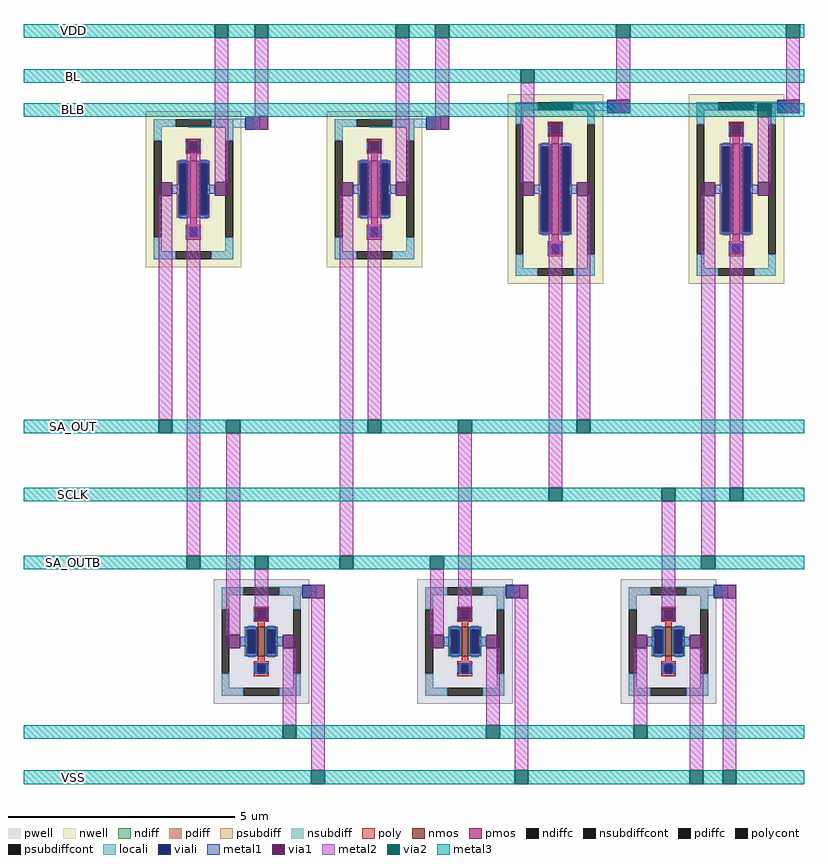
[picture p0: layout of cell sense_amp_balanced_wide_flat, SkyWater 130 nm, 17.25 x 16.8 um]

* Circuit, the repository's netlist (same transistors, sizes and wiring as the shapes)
* NGSPICE file created from sense_amp_balanced_wide_flat.ext - technology: sky130A

.subckt sense_amp_balanced_wide_flat VDD VSS BL BLB SCLK SA_OUT SA_OUTB
X0 VSS SCLK a_615_n3065# VSS sky130_fd_pr__nfet_01v8 ad=0.1885 pd=1.88 as=0.1885 ps=1.88 w=0.65 l=0.15
X1 BLB SCLK SA_OUTB VDD sky130_fd_pr__pfet_01v8 ad=0.58 pd=4.58 as=0.58 ps=4.58 w=2 l=0.15
X2 VDD SA_OUTB SA_OUT VDD sky130_fd_pr__pfet_01v8 ad=0.3654 pd=3.1 as=0.3654 ps=3.1 w=1.26 l=0.15
X3 VDD SA_OUT SA_OUTB VDD sky130_fd_pr__pfet_01v8 ad=0.3654 pd=3.1 as=0.3654 ps=3.1 w=1.26 l=0.15
X4 SA_OUT SCLK BL VDD sky130_fd_pr__pfet_01v8 ad=0.58 pd=4.58 as=0.58 ps=4.58 w=2 l=0.15
X5 a_615_n3065# SA_OUTB SA_OUT VSS sky130_fd_pr__nfet_01v8 ad=0.1885 pd=1.88 as=0.1885 ps=1.88 w=0.65 l=0.15
X6 a_615_n3065# SA_OUT SA_OUTB VSS sky130_fd_pr__nfet_01v8 ad=0.1885 pd=1.88 as=0.1885 ps=1.88 w=0.65 l=0.15
.ends

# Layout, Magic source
magic
tech sky130A
magscale 1 2
<< nwell >>
rect 89 -1345 511 -655
rect 889 -1345 1311 -655
rect 1689 -1419 2111 -581
rect 2489 -1419 2911 -581
<< pwell >>
rect 389 -3275 811 -2725
rect 1289 -3275 1711 -2725
rect 2189 -3275 2611 -2725
<< nmos >>
rect 585 -3065 615 -2935
rect 1485 -3065 1515 -2935
rect 2385 -3065 2415 -2935
<< pmos >>
rect 285 -1126 315 -874
rect 1085 -1126 1115 -874
rect 1885 -1200 1915 -800
rect 2685 -1200 2715 -800
<< ndiff >>
rect 527 -2947 585 -2935
rect 527 -3053 539 -2947
rect 573 -3053 585 -2947
rect 527 -3065 585 -3053
rect 615 -2947 673 -2935
rect 615 -3053 627 -2947
rect 661 -3053 673 -2947
rect 615 -3065 673 -3053
rect 1427 -2947 1485 -2935
rect 1427 -3053 1439 -2947
rect 1473 -3053 1485 -2947
rect 1427 -3065 1485 -3053
rect 1515 -2947 1573 -2935
rect 1515 -3053 1527 -2947
rect 1561 -3053 1573 -2947
rect 1515 -3065 1573 -3053
rect 2327 -2947 2385 -2935
rect 2327 -3053 2339 -2947
rect 2373 -3053 2385 -2947
rect 2327 -3065 2385 -3053
rect 2415 -2947 2473 -2935
rect 2415 -3053 2427 -2947
rect 2461 -3053 2473 -2947
rect 2415 -3065 2473 -3053
<< pdiff >>
rect 227 -886 285 -874
rect 227 -1114 239 -886
rect 273 -1114 285 -886
rect 227 -1126 285 -1114
rect 315 -886 373 -874
rect 315 -1114 327 -886
rect 361 -1114 373 -886
rect 315 -1126 373 -1114
rect 1027 -886 1085 -874
rect 1027 -1114 1039 -886
rect 1073 -1114 1085 -886
rect 1027 -1126 1085 -1114
rect 1115 -886 1173 -874
rect 1115 -1114 1127 -886
rect 1161 -1114 1173 -886
rect 1115 -1126 1173 -1114
rect 1827 -812 1885 -800
rect 1827 -1188 1839 -812
rect 1873 -1188 1885 -812
rect 1827 -1200 1885 -1188
rect 1915 -812 1973 -800
rect 1915 -1188 1927 -812
rect 1961 -1188 1973 -812
rect 1915 -1200 1973 -1188
rect 2627 -812 2685 -800
rect 2627 -1188 2639 -812
rect 2673 -1188 2685 -812
rect 2627 -1200 2685 -1188
rect 2715 -812 2773 -800
rect 2715 -1188 2727 -812
rect 2761 -1188 2773 -812
rect 2715 -1200 2773 -1188
<< ndiffc >>
rect 539 -3053 573 -2947
rect 627 -3053 661 -2947
rect 1439 -3053 1473 -2947
rect 1527 -3053 1561 -2947
rect 2339 -3053 2373 -2947
rect 2427 -3053 2461 -2947
<< pdiffc >>
rect 239 -1114 273 -886
rect 327 -1114 361 -886
rect 1039 -1114 1073 -886
rect 1127 -1114 1161 -886
rect 1839 -1188 1873 -812
rect 1927 -1188 1961 -812
rect 2639 -1188 2673 -812
rect 2727 -1188 2761 -812
<< psubdiff >>
rect 425 -2795 521 -2761
rect 679 -2795 775 -2761
rect 425 -2857 459 -2795
rect 741 -2857 775 -2795
rect 425 -3205 459 -3143
rect 741 -3205 775 -3143
rect 425 -3239 521 -3205
rect 679 -3239 775 -3205
rect 1325 -2795 1421 -2761
rect 1579 -2795 1675 -2761
rect 1325 -2857 1359 -2795
rect 1641 -2857 1675 -2795
rect 1325 -3205 1359 -3143
rect 1641 -3205 1675 -3143
rect 1325 -3239 1421 -3205
rect 1579 -3239 1675 -3205
rect 2225 -2795 2321 -2761
rect 2479 -2795 2575 -2761
rect 2225 -2857 2259 -2795
rect 2541 -2857 2575 -2795
rect 2225 -3205 2259 -3143
rect 2541 -3205 2575 -3143
rect 2225 -3239 2321 -3205
rect 2479 -3239 2575 -3205
<< nsubdiff >>
rect 1725 -651 1821 -617
rect 1979 -651 2075 -617
rect 125 -725 221 -691
rect 379 -725 475 -691
rect 125 -787 159 -725
rect 441 -787 475 -725
rect 125 -1275 159 -1213
rect 441 -1275 475 -1213
rect 125 -1309 221 -1275
rect 379 -1309 475 -1275
rect 925 -725 1021 -691
rect 1179 -725 1275 -691
rect 925 -787 959 -725
rect 1241 -787 1275 -725
rect 925 -1275 959 -1213
rect 1241 -1275 1275 -1213
rect 925 -1309 1021 -1275
rect 1179 -1309 1275 -1275
rect 1725 -713 1759 -651
rect 2041 -713 2075 -651
rect 1725 -1349 1759 -1287
rect 2041 -1349 2075 -1287
rect 1725 -1383 1821 -1349
rect 1979 -1383 2075 -1349
rect 2525 -651 2621 -617
rect 2779 -651 2875 -617
rect 2525 -713 2559 -651
rect 2841 -713 2875 -651
rect 2525 -1349 2559 -1287
rect 2841 -1349 2875 -1287
rect 2525 -1383 2621 -1349
rect 2779 -1383 2875 -1349
<< psubdiffcont >>
rect 521 -2795 679 -2761
rect 425 -3143 459 -2857
rect 741 -3143 775 -2857
rect 521 -3239 679 -3205
rect 1421 -2795 1579 -2761
rect 1325 -3143 1359 -2857
rect 1641 -3143 1675 -2857
rect 1421 -3239 1579 -3205
rect 2321 -2795 2479 -2761
rect 2225 -3143 2259 -2857
rect 2541 -3143 2575 -2857
rect 2321 -3239 2479 -3205
<< nsubdiffcont >>
rect 1821 -651 1979 -617
rect 221 -725 379 -691
rect 125 -1213 159 -787
rect 441 -1213 475 -787
rect 221 -1309 379 -1275
rect 1021 -725 1179 -691
rect 925 -1213 959 -787
rect 1241 -1213 1275 -787
rect 1021 -1309 1179 -1275
rect 1725 -1287 1759 -713
rect 2041 -1287 2075 -713
rect 1821 -1383 1979 -1349
rect 2621 -651 2779 -617
rect 2525 -1287 2559 -713
rect 2841 -1287 2875 -713
rect 2621 -1383 2779 -1349
<< poly >>
rect 267 -793 333 -777
rect 267 -827 283 -793
rect 317 -827 333 -793
rect 267 -843 333 -827
rect 285 -874 315 -843
rect 285 -1157 315 -1126
rect 267 -1173 333 -1157
rect 267 -1207 283 -1173
rect 317 -1207 333 -1173
rect 267 -1223 333 -1207
rect 1067 -793 1133 -777
rect 1067 -827 1083 -793
rect 1117 -827 1133 -793
rect 1067 -843 1133 -827
rect 1085 -874 1115 -843
rect 1085 -1157 1115 -1126
rect 1067 -1173 1133 -1157
rect 1067 -1207 1083 -1173
rect 1117 -1207 1133 -1173
rect 1067 -1223 1133 -1207
rect 1867 -719 1933 -703
rect 1867 -753 1883 -719
rect 1917 -753 1933 -719
rect 1867 -769 1933 -753
rect 1885 -800 1915 -769
rect 1885 -1231 1915 -1200
rect 1867 -1247 1933 -1231
rect 1867 -1281 1883 -1247
rect 1917 -1281 1933 -1247
rect 1867 -1297 1933 -1281
rect 2667 -719 2733 -703
rect 2667 -753 2683 -719
rect 2717 -753 2733 -719
rect 2667 -769 2733 -753
rect 2685 -800 2715 -769
rect 2685 -1231 2715 -1200
rect 2667 -1247 2733 -1231
rect 2667 -1281 2683 -1247
rect 2717 -1281 2733 -1247
rect 2667 -1297 2733 -1281
rect 567 -2863 633 -2847
rect 567 -2897 583 -2863
rect 617 -2897 633 -2863
rect 567 -2913 633 -2897
rect 585 -2935 615 -2913
rect 585 -3087 615 -3065
rect 567 -3103 633 -3087
rect 567 -3137 583 -3103
rect 617 -3137 633 -3103
rect 567 -3153 633 -3137
rect 1467 -2863 1533 -2847
rect 1467 -2897 1483 -2863
rect 1517 -2897 1533 -2863
rect 1467 -2913 1533 -2897
rect 1485 -2935 1515 -2913
rect 1485 -3087 1515 -3065
rect 1467 -3103 1533 -3087
rect 1467 -3137 1483 -3103
rect 1517 -3137 1533 -3103
rect 1467 -3153 1533 -3137
rect 2367 -2863 2433 -2847
rect 2367 -2897 2383 -2863
rect 2417 -2897 2433 -2863
rect 2367 -2913 2433 -2897
rect 2385 -2935 2415 -2913
rect 2385 -3087 2415 -3065
rect 2367 -3103 2433 -3087
rect 2367 -3137 2383 -3103
rect 2417 -3137 2433 -3103
rect 2367 -3153 2433 -3137
<< polycont >>
rect 283 -827 317 -793
rect 283 -1207 317 -1173
rect 1083 -827 1117 -793
rect 1083 -1207 1117 -1173
rect 1883 -753 1917 -719
rect 1883 -1281 1917 -1247
rect 2683 -753 2717 -719
rect 2683 -1281 2717 -1247
rect 583 -2897 617 -2863
rect 583 -3137 617 -3103
rect 1483 -2897 1517 -2863
rect 1483 -3137 1517 -3103
rect 2383 -2897 2417 -2863
rect 2383 -3137 2417 -3103
<< locali >>
rect 1880 -617 2130 -614
rect 1725 -651 1821 -617
rect 1979 -651 2130 -617
rect 280 -691 530 -688
rect 125 -725 221 -691
rect 379 -725 530 -691
rect 125 -787 159 -725
rect 280 -728 530 -725
rect 441 -787 475 -728
rect 1080 -691 1330 -688
rect 925 -725 1021 -691
rect 1179 -725 1330 -691
rect 267 -827 283 -793
rect 317 -827 333 -793
rect 239 -886 273 -870
rect 239 -1130 273 -1114
rect 327 -886 361 -870
rect 327 -1130 361 -1114
rect 267 -1207 283 -1173
rect 317 -1207 333 -1173
rect 125 -1275 159 -1213
rect 441 -1275 475 -1213
rect 125 -1309 221 -1275
rect 379 -1309 475 -1275
rect 925 -787 959 -725
rect 1080 -728 1330 -725
rect 1241 -787 1275 -728
rect 1725 -713 1759 -651
rect 1880 -654 2130 -651
rect 1067 -827 1083 -793
rect 1117 -827 1133 -793
rect 1039 -886 1073 -870
rect 1039 -1130 1073 -1114
rect 1127 -886 1161 -870
rect 1127 -1130 1161 -1114
rect 1067 -1207 1083 -1173
rect 1117 -1207 1133 -1173
rect 925 -1275 959 -1213
rect 1241 -1275 1275 -1213
rect 925 -1309 1021 -1275
rect 1179 -1309 1275 -1275
rect 2041 -713 2075 -654
rect 2680 -617 2880 -614
rect 2525 -651 2621 -617
rect 2779 -651 2880 -617
rect 1867 -753 1883 -719
rect 1917 -753 1933 -719
rect 1839 -812 1873 -796
rect 1839 -1204 1873 -1188
rect 1927 -812 1961 -796
rect 1927 -1204 1961 -1188
rect 1867 -1281 1883 -1247
rect 1917 -1281 1933 -1247
rect 1725 -1349 1759 -1287
rect 2041 -1349 2075 -1287
rect 1725 -1383 1821 -1349
rect 1979 -1383 2075 -1349
rect 2525 -713 2559 -651
rect 2680 -654 2880 -651
rect 2841 -713 2875 -654
rect 2667 -753 2683 -719
rect 2717 -753 2733 -719
rect 2639 -812 2673 -796
rect 2639 -1204 2673 -1188
rect 2727 -812 2761 -796
rect 2727 -1204 2761 -1188
rect 2667 -1281 2683 -1247
rect 2717 -1281 2733 -1247
rect 2525 -1349 2559 -1287
rect 2841 -1349 2875 -1287
rect 2525 -1383 2621 -1349
rect 2779 -1383 2875 -1349
rect 580 -2761 780 -2758
rect 425 -2795 521 -2761
rect 679 -2795 780 -2761
rect 425 -2857 459 -2795
rect 580 -2798 780 -2795
rect 741 -2857 775 -2798
rect 1480 -2761 1680 -2758
rect 1325 -2795 1421 -2761
rect 1579 -2795 1680 -2761
rect 567 -2897 583 -2863
rect 617 -2897 633 -2863
rect 539 -2947 573 -2931
rect 539 -3069 573 -3053
rect 627 -2947 661 -2931
rect 627 -3069 661 -3053
rect 567 -3137 583 -3103
rect 617 -3137 633 -3103
rect 425 -3205 459 -3143
rect 741 -3205 775 -3143
rect 425 -3239 521 -3205
rect 679 -3239 775 -3205
rect 1325 -2857 1359 -2795
rect 1480 -2798 1680 -2795
rect 1641 -2857 1675 -2798
rect 2380 -2761 2600 -2758
rect 2225 -2795 2321 -2761
rect 2479 -2795 2600 -2761
rect 1467 -2897 1483 -2863
rect 1517 -2897 1533 -2863
rect 1439 -2947 1473 -2931
rect 1439 -3069 1473 -3053
rect 1527 -2947 1561 -2931
rect 1527 -3069 1561 -3053
rect 1467 -3137 1483 -3103
rect 1517 -3137 1533 -3103
rect 1325 -3205 1359 -3143
rect 1641 -3205 1675 -3143
rect 1325 -3239 1421 -3205
rect 1579 -3239 1675 -3205
rect 2225 -2857 2259 -2795
rect 2380 -2798 2600 -2795
rect 2541 -2857 2575 -2798
rect 2367 -2897 2383 -2863
rect 2417 -2897 2433 -2863
rect 2339 -2947 2373 -2931
rect 2339 -3069 2373 -3053
rect 2427 -2947 2461 -2931
rect 2427 -3069 2461 -3053
rect 2367 -3137 2383 -3103
rect 2417 -3137 2433 -3103
rect 2225 -3205 2259 -3143
rect 2541 -3205 2575 -3143
rect 2225 -3239 2321 -3205
rect 2479 -3239 2575 -3205
<< viali >>
rect 530 -738 590 -678
rect 283 -827 317 -793
rect 239 -1114 273 -886
rect 327 -1114 361 -886
rect 283 -1207 317 -1173
rect 1330 -738 1390 -678
rect 1083 -827 1117 -793
rect 1039 -1114 1073 -886
rect 1127 -1114 1161 -886
rect 1083 -1207 1117 -1173
rect 2130 -664 2190 -604
rect 1883 -753 1917 -719
rect 1839 -1188 1873 -812
rect 1927 -1188 1961 -812
rect 1883 -1281 1917 -1247
rect 2880 -664 2940 -604
rect 2683 -753 2717 -719
rect 2639 -1188 2673 -812
rect 2727 -1188 2761 -812
rect 2683 -1281 2717 -1247
rect 780 -2808 840 -2748
rect 583 -2897 617 -2863
rect 539 -3053 573 -2947
rect 627 -3053 661 -2947
rect 583 -3137 617 -3103
rect 1680 -2808 1740 -2748
rect 1483 -2897 1517 -2863
rect 1439 -3053 1473 -2947
rect 1527 -3053 1561 -2947
rect 1483 -3137 1517 -3103
rect 2600 -2808 2660 -2748
rect 2383 -2897 2417 -2863
rect 2339 -3053 2373 -2947
rect 2427 -3053 2461 -2947
rect 2383 -3137 2417 -3103
<< metal1 >>
rect 1833 -812 1879 -800
rect 233 -886 279 -874
rect 233 -980 239 -886
rect 206 -1020 239 -980
rect 233 -1114 239 -1020
rect 273 -1114 279 -886
rect 233 -1126 279 -1114
rect 321 -886 367 -874
rect 321 -1114 327 -886
rect 361 -980 367 -886
rect 1033 -886 1079 -874
rect 361 -1020 394 -980
rect 361 -1114 367 -1020
rect 1033 -980 1039 -886
rect 1006 -1020 1039 -980
rect 321 -1126 367 -1114
rect 1033 -1114 1039 -1020
rect 1073 -1114 1079 -886
rect 1033 -1126 1079 -1114
rect 1121 -886 1167 -874
rect 1121 -1114 1127 -886
rect 1161 -980 1167 -886
rect 1161 -1020 1194 -980
rect 1161 -1114 1167 -1020
rect 1833 -980 1839 -812
rect 1806 -1020 1839 -980
rect 1121 -1126 1167 -1114
rect 271 -1173 329 -1167
rect 271 -1207 283 -1173
rect 317 -1207 329 -1173
rect 271 -1213 329 -1207
rect 1071 -1173 1129 -1167
rect 1071 -1207 1083 -1173
rect 1117 -1207 1129 -1173
rect 1833 -1188 1839 -1020
rect 1873 -1188 1879 -812
rect 1833 -1200 1879 -1188
rect 1921 -812 1967 -800
rect 1921 -1188 1927 -812
rect 1961 -980 1967 -812
rect 2633 -812 2679 -800
rect 1961 -1020 1994 -980
rect 1961 -1188 1967 -1020
rect 2633 -980 2639 -812
rect 2606 -1020 2639 -980
rect 1921 -1200 1967 -1188
rect 2633 -1188 2639 -1020
rect 2673 -1188 2679 -812
rect 2633 -1200 2679 -1188
rect 2721 -812 2767 -800
rect 2721 -1188 2727 -812
rect 2761 -980 2767 -812
rect 2761 -1020 2794 -980
rect 2761 -1188 2767 -1020
rect 2721 -1200 2767 -1188
rect 1071 -1213 1129 -1207
rect 1871 -1247 1929 -1241
rect 1871 -1281 1883 -1247
rect 1917 -1281 1929 -1247
rect 1871 -1287 1929 -1281
rect 2671 -1247 2729 -1241
rect 2671 -1281 2683 -1247
rect 2717 -1281 2729 -1247
rect 2671 -1287 2729 -1281
rect 533 -2947 579 -2935
rect 533 -2980 539 -2947
rect 506 -3020 539 -2980
rect 533 -3053 539 -3020
rect 573 -3053 579 -2947
rect 533 -3065 579 -3053
rect 621 -2947 667 -2935
rect 621 -3053 627 -2947
rect 661 -2980 667 -2947
rect 1433 -2947 1479 -2935
rect 661 -3020 694 -2980
rect 661 -3053 667 -3020
rect 1433 -2980 1439 -2947
rect 1406 -3020 1439 -2980
rect 621 -3065 667 -3053
rect 1433 -3053 1439 -3020
rect 1473 -3053 1479 -2947
rect 1433 -3065 1479 -3053
rect 1521 -2947 1567 -2935
rect 1521 -3053 1527 -2947
rect 1561 -2980 1567 -2947
rect 2333 -2947 2379 -2935
rect 1561 -3020 1594 -2980
rect 1561 -3053 1567 -3020
rect 2333 -2980 2339 -2947
rect 2306 -3020 2339 -2980
rect 1521 -3065 1567 -3053
rect 2333 -3053 2339 -3020
rect 2373 -3053 2379 -2947
rect 2333 -3065 2379 -3053
rect 2421 -2947 2467 -2935
rect 2421 -3053 2427 -2947
rect 2461 -2980 2467 -2947
rect 2461 -3020 2494 -2980
rect 2461 -3053 2467 -3020
rect 2421 -3065 2467 -3053
rect 571 -3103 629 -3097
rect 571 -3137 583 -3103
rect 617 -3137 629 -3103
rect 571 -3143 629 -3137
rect 1471 -3103 1529 -3097
rect 1471 -3137 1483 -3103
rect 1517 -3137 1529 -3103
rect 1471 -3143 1529 -3137
rect 2371 -3103 2429 -3097
rect 2371 -3137 2383 -3103
rect 2417 -3137 2429 -3103
rect 2371 -3143 2429 -3137
<< via1 >>
rect 2190 -664 2230 -604
rect 2940 -664 2980 -604
rect 590 -738 630 -678
rect 1390 -738 1430 -678
rect 1870 -719 1930 -706
rect 1870 -753 1883 -719
rect 1883 -753 1917 -719
rect 1917 -753 1930 -719
rect 1870 -766 1930 -753
rect 2670 -719 2730 -706
rect 2670 -753 2683 -719
rect 2683 -753 2717 -719
rect 2717 -753 2730 -719
rect 2670 -766 2730 -753
rect 270 -793 330 -780
rect 270 -827 283 -793
rect 283 -827 317 -793
rect 317 -827 330 -793
rect 270 -840 330 -827
rect 1070 -793 1130 -780
rect 1070 -827 1083 -793
rect 1083 -827 1117 -793
rect 1117 -827 1130 -793
rect 1070 -840 1130 -827
rect 146 -1030 206 -970
rect 394 -1030 454 -970
rect 946 -1030 1006 -970
rect 1194 -1030 1254 -970
rect 1746 -1030 1806 -970
rect 1994 -1030 2054 -970
rect 2546 -1030 2606 -970
rect 2794 -1030 2854 -970
rect 840 -2808 880 -2748
rect 1740 -2808 1780 -2748
rect 2660 -2808 2700 -2748
rect 570 -2863 630 -2850
rect 570 -2897 583 -2863
rect 583 -2897 617 -2863
rect 617 -2897 630 -2863
rect 570 -2910 630 -2897
rect 1470 -2863 1530 -2850
rect 1470 -2897 1483 -2863
rect 1483 -2897 1517 -2863
rect 1517 -2897 1530 -2863
rect 1470 -2910 1530 -2897
rect 2370 -2863 2430 -2850
rect 2370 -2897 2383 -2863
rect 2383 -2897 2417 -2863
rect 2417 -2897 2430 -2863
rect 2370 -2910 2430 -2897
rect 446 -3030 506 -2970
rect 694 -3030 754 -2970
rect 1346 -3030 1406 -2970
rect 1594 -3030 1654 -2970
rect 2246 -3030 2306 -2970
rect 2494 -3030 2554 -2970
<< metal2 >>
rect 146 -2020 206 -1030
rect 270 -2620 330 -840
rect 394 -970 454 -330
rect 570 -678 630 -330
rect 570 -738 590 -678
rect 446 -2970 506 -2080
rect 946 -2620 1006 -1030
rect 1070 -2020 1130 -840
rect 1194 -970 1254 -330
rect 1370 -678 1430 -330
rect 1370 -738 1390 -678
rect 1746 -970 1806 -530
rect 2170 -604 2230 -330
rect 2170 -664 2190 -604
rect 2920 -604 2980 -330
rect 2920 -664 2940 -604
rect 570 -2850 630 -2680
rect 820 -2808 840 -2748
rect 694 -3370 754 -3030
rect 820 -3570 880 -2808
rect 1346 -2970 1406 -2680
rect 1470 -2850 1530 -2080
rect 1870 -2320 1930 -766
rect 1994 -2020 2054 -1030
rect 1720 -2808 1740 -2748
rect 1594 -3370 1654 -3030
rect 1720 -3570 1780 -2808
rect 2370 -2850 2430 -2380
rect 2546 -2620 2606 -1030
rect 2670 -2320 2730 -766
rect 2794 -970 2854 -680
rect 2640 -2808 2660 -2748
rect 2246 -3370 2306 -3030
rect 2494 -3570 2554 -3030
rect 2640 -3570 2700 -2808
<< via2 >>
rect 394 -330 454 -270
rect 146 -2080 206 -2020
rect 570 -330 630 -270
rect 1194 -330 1254 -270
rect 270 -2680 330 -2620
rect 446 -2080 506 -2020
rect 1370 -330 1430 -270
rect 2170 -330 2230 -270
rect 1746 -530 1806 -470
rect 2920 -330 2980 -270
rect 2794 -680 2854 -620
rect 1070 -2080 1130 -2020
rect 1470 -2080 1530 -2020
rect 570 -2680 630 -2620
rect 946 -2680 1006 -2620
rect 1346 -2680 1406 -2620
rect 694 -3430 754 -3370
rect 1994 -2080 2054 -2020
rect 1870 -2380 1930 -2320
rect 2370 -2380 2430 -2320
rect 1594 -3430 1654 -3370
rect 820 -3630 880 -3570
rect 2670 -2380 2730 -2320
rect 2546 -2680 2606 -2620
rect 2246 -3430 2306 -3370
rect 1720 -3630 1780 -3570
rect 2494 -3630 2554 -3570
rect 2640 -3630 2700 -3570
<< metal3 >>
rect -450 -330 394 -270
rect 454 -330 570 -270
rect 630 -330 1194 -270
rect 1254 -330 1370 -270
rect 1430 -330 2170 -270
rect 2230 -330 2920 -270
rect 2980 -330 3000 -270
rect -450 -530 1746 -470
rect 1806 -530 3000 -470
rect -450 -680 2794 -620
rect 2854 -680 3000 -620
rect -450 -2080 146 -2020
rect 206 -2080 446 -2020
rect 506 -2080 1070 -2020
rect 1130 -2080 1470 -2020
rect 1530 -2080 1994 -2020
rect 2054 -2080 3000 -2020
rect -450 -2380 1870 -2320
rect 1930 -2380 2370 -2320
rect 2430 -2380 2670 -2320
rect 2730 -2380 3000 -2320
rect -450 -2680 270 -2620
rect 330 -2680 570 -2620
rect 630 -2680 946 -2620
rect 1006 -2680 1346 -2620
rect 1406 -2680 2546 -2620
rect 2606 -2680 3000 -2620
rect -450 -3430 694 -3370
rect 754 -3430 1594 -3370
rect 1654 -3430 2246 -3370
rect 2306 -3430 3000 -3370
rect -450 -3630 820 -3570
rect 880 -3630 1720 -3570
rect 1780 -3630 2494 -3570
rect 2554 -3630 2640 -3570
rect 2700 -3630 3000 -3570
<< labels >>
rlabel metal3 -255 -325 -205 -275 0 VDD
port 0 n
rlabel metal3 -255 -3625 -205 -3575 0 VSS
port 1 n
rlabel metal3 -255 -525 -205 -475 0 BL
port 2 n
rlabel metal3 -255 -675 -205 -625 0 BLB
port 3 n
rlabel metal3 -255 -2375 -205 -2325 0 SCLK
port 4 n
rlabel metal3 -255 -2075 -205 -2025 0 SA_OUT
port 5 n
rlabel metal3 -255 -2675 -205 -2625 0 SA_OUTB
port 6 n
<< end >>
